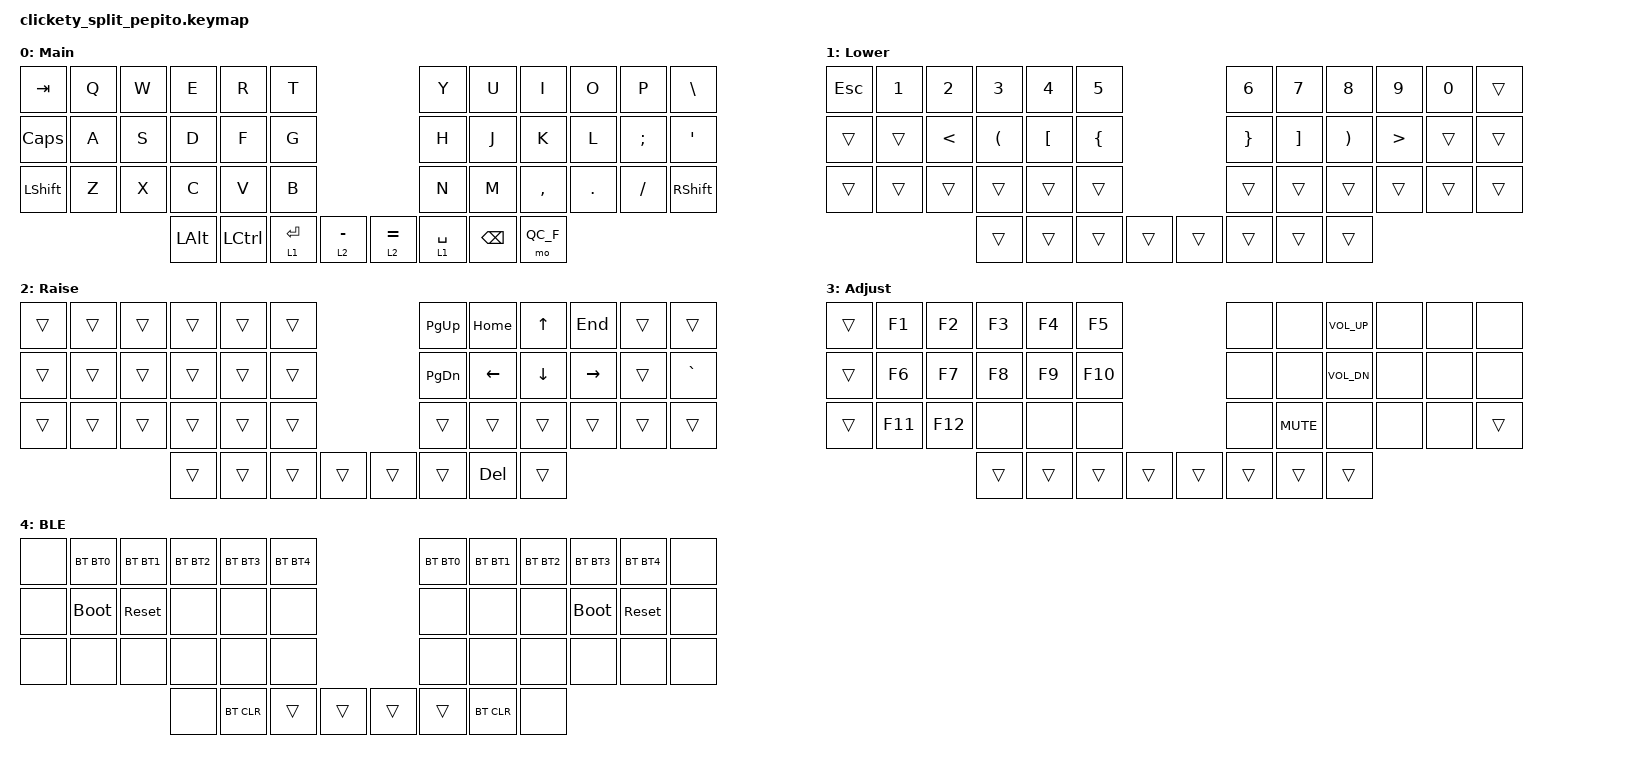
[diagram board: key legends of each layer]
/*
 * Copyright (c) 2024 The ZMK Contributors
 *
 * SPDX-License-Identifier: MIT
 */
#include <behaviors.dtsi>
#include <dt-bindings/zmk/keys.h>
#include <dt-bindings/zmk/bt.h>

// Layers
#define QW_M    0       // Main
#define QW_L    1       // Lower
#define QW_R    2       // Raise
#define QW_A    3       // Adjust

#define QC_F    4       // Firmware


// Short versions
#define BT0     BT_SEL 0
#define BT1     BT_SEL 1
#define BT2     BT_SEL 2
#define BT3     BT_SEL 3
#define BT4     BT_SEL 4

#define BOOTLDR     &bootloader
#define SYSRSET     &sys_reset

#define VOLUP   C_VOL_UP
#define VOLDN   C_VOL_DN
#define VOLMT   C_MUTE


/ {
    conditional_layers {
        compatible = "zmk,conditional-layers";
        adjust_win_layer {
            if-layers = <1 2>;
            then-layer = <3>;
        };
    };

    combos {
        compatible = "zmk,combos";

        combo_win_LGUI {
            timeout-ms = <50>;
            key-positions = <0 12>;
            layers = <QW_M>;
            bindings = <&kp LGUI>;
        };

        combo_win_RGUI {
            timeout-ms = <50>;
            key-positions = <11 23>;
            layers = <QW_M>;
            bindings = <&kp RGUI>;
        };
    };

    keymap {
        compatible = "zmk,keymap";

        default_win_layer {
            display-name = " Main";
            bindings = <
&kp TAB    &kp Q      &kp W      &kp E      &kp R      &kp T                            &kp Y      &kp U      &kp I      &kp O      &kp P      &kp BSLH
&kp CAPS   &kp A      &kp S      &kp D      &kp F      &kp G                            &kp H      &kp J      &kp K      &kp L      &kp SEMI   &kp SQT
&kp LSHFT  &kp Z      &kp X      &kp C      &kp V      &kp B                            &kp N      &kp M      &kp COMMA  &kp DOT    &kp FSLH   &kp RSHFT
                              &kp LALT &kp LCTRL  &lt 1 RET  &lt 2 MINUS    &lt 2 EQUAL &lt 1 SPACE  &kp BSPC &mo QC_F
            >;
        };

        lower_win_layer {
            display-name = " Lower";
            bindings = <
&kp ESC    &kp N1     &kp N2     &kp N3     &kp N4     &kp N5                           &kp N6     &kp N7     &kp N8     &kp N9     &kp N0     &trans
&trans     &trans     &kp LT     &kp LPAR   &kp LBKT   &kp LBRC                         &kp RBRC   &kp RBKT   &kp RPAR   &kp GT     &trans     &trans
&trans     &trans     &trans     &trans     &trans     &trans                           &trans     &trans     &trans     &trans     &trans     &trans
                                 &trans     &trans     &trans     &trans      &trans    &trans     &trans     &trans
            >;
        };

        raise_win_layer {
            display-name = " Raise";
            bindings = <
&trans     &trans     &trans     &trans     &trans     &trans                           &kp PG_UP  &kp HOME   &kp UP     &kp END    &trans     &trans
&trans     &trans     &trans     &trans     &trans     &trans                           &kp PG_DN  &kp LEFT   &kp DOWN   &kp RIGHT  &trans     &kp GRAV
&trans     &trans     &trans     &trans     &trans     &trans                           &trans     &trans     &trans     &trans     &trans     &trans
                                 &trans     &trans     &trans     &trans      &trans    &trans     &kp DEL    &trans
            >;
        };

        adjust_win_layer {
            display-name = " Adjust";
            bindings = <
&trans     &kp F1     &kp F2     &kp F3     &kp F4     &kp F5                           &none      &none      &kp VOLUP  &none      &none      &none
&trans     &kp F6     &kp F7     &kp F8     &kp F9     &kp F10                          &none      &none      &kp VOLDN  &none      &none      &none
&trans     &kp F11    &kp F12    &none      &none      &none                            &none      &kp VOLMT  &none      &none      &none      &trans
                                 &trans     &trans     &trans     &trans      &trans    &trans     &trans     &trans
            >;
        };

        firmware_layer {
            display-name = " BLE";
            bindings = <
&none       &bt BT0     &bt BT1  &bt BT2    &bt BT3    &bt BT4                          &bt BT0    &bt BT1    &bt BT2    &bt BT3    &bt BT4    &none
&none       BOOTLDR     SYSRSET  &none      &none      &none                            &none      &none      &none      BOOTLDR    SYSRSET    &none
&none       &none       &none    &none      &none      &none                            &none      &none      &none      &none      &none      &none
                                 &none      &bt BT_CLR &trans     &trans      &trans    &trans     &bt BT_CLR &none
            >;
        };
    };
};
